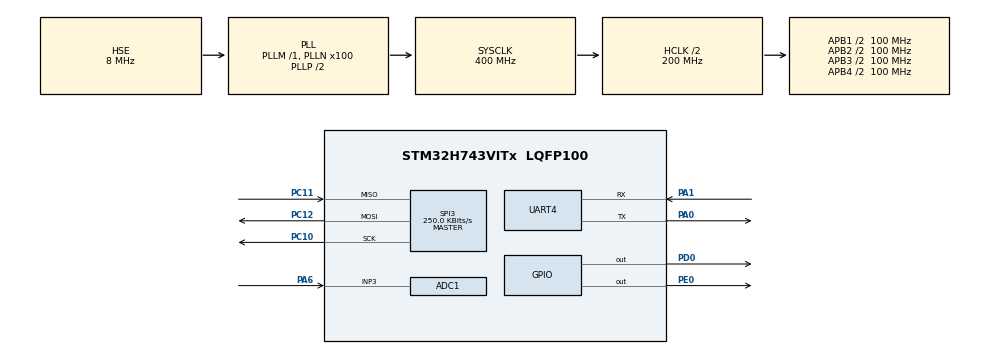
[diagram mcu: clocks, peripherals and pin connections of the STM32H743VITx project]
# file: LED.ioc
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ADC1.Channel-0\#ChannelRegularConversion=ADC_CHANNEL_3
ADC1.ClockPrescaler=ADC_CLOCK_ASYNC_DIV6
ADC1.ConversionDataManagement=ADC_CONVERSIONDATA_DMA_CIRCULAR
ADC1.ExternalTrigConv=ADC_EXTERNALTRIG_T3_TRGO
ADC1.NbrOfConversion=1
ADC1.NbrOfConversionFlag=1
ADC1.OffsetNumber-0\#ChannelRegularConversion=ADC_OFFSET_NONE
ADC1.OversamplingMode=ENABLE
ADC1.Rank-0\#ChannelRegularConversion=1
ADC1.Ratio=1023
ADC1.RightBitShift=ADC_RIGHTBITSHIFT_10
ADC1.SamplingTime-0\#ChannelRegularConversion=ADC_SAMPLETIME_1CYCLE_5
ADC1.master=1
Bdma.BDMA_GENERATOR0.0.Direction=DMA_MEMORY_TO_PERIPH
Bdma.BDMA_GENERATOR0.0.EventEnable=DISABLE
Bdma.BDMA_GENERATOR0.0.Instance=BDMA_Channel0
Bdma.BDMA_GENERATOR0.0.MemDataAlignment=DMA_MDATAALIGN_HALFWORD
Bdma.BDMA_GENERATOR0.0.MemInc=DMA_MINC_ENABLE
Bdma.BDMA_GENERATOR0.0.Mode=DMA_CIRCULAR
Bdma.BDMA_GENERATOR0.0.PeriphDataAlignment=DMA_PDATAALIGN_HALFWORD
Bdma.BDMA_GENERATOR0.0.PeriphInc=DMA_PINC_DISABLE
Bdma.BDMA_GENERATOR0.0.Polarity=HAL_DMAMUX_REQ_GEN_RISING
Bdma.BDMA_GENERATOR0.0.Priority=DMA_PRIORITY_LOW
Bdma.BDMA_GENERATOR0.0.RequestNumber=1
Bdma.BDMA_GENERATOR0.0.SignalID=HAL_DMAMUX2_REQ_GEN_LPTIM2_OUT
Bdma.BDMA_GENERATOR0.0.SyncEnable=DISABLE
Bdma.BDMA_GENERATOR0.0.SyncPolarity=HAL_DMAMUX_SYNC_NO_EVENT
Bdma.BDMA_GENERATOR0.0.SyncRequestNumber=1
Bdma.BDMA_GENERATOR0.0.SyncSignalID=NONE
Bdma.Request0=BDMA_GENERATOR0
Bdma.RequestsNb=1
CORTEX_M7.CPU_DCache=Disabled
CORTEX_M7.CPU_ICache=Disabled
Dma.ADC1.0.Direction=DMA_PERIPH_TO_MEMORY
Dma.ADC1.0.EventEnable=DISABLE
Dma.ADC1.0.FIFOMode=DMA_FIFOMODE_DISABLE
Dma.ADC1.0.Instance=DMA1_Stream0
Dma.ADC1.0.MemDataAlignment=DMA_MDATAALIGN_HALFWORD
Dma.ADC1.0.MemInc=DMA_MINC_ENABLE
Dma.ADC1.0.Mode=DMA_CIRCULAR
Dma.ADC1.0.PeriphDataAlignment=DMA_PDATAALIGN_HALFWORD
Dma.ADC1.0.PeriphInc=DMA_PINC_DISABLE
Dma.ADC1.0.Polarity=HAL_DMAMUX_REQ_GEN_RISING
Dma.ADC1.0.Priority=DMA_PRIORITY_LOW
Dma.ADC1.0.RequestNumber=1
Dma.ADC1.0.SignalID=NONE
Dma.ADC1.0.SyncEnable=DISABLE
Dma.ADC1.0.SyncPolarity=HAL_DMAMUX_SYNC_NO_EVENT
Dma.ADC1.0.SyncRequestNumber=1
Dma.ADC1.0.SyncSignalID=NONE
Dma.Request0=ADC1
Dma.Request1=UART4_RX
Dma.UART4_RX.1.Direction=DMA_PERIPH_TO_MEMORY
Dma.UART4_RX.1.EventEnable=DISABLE
Dma.UART4_RX.1.FIFOMode=DMA_FIFOMODE_DISABLE
Dma.UART4_RX.1.Instance=DMA1_Stream2
Dma.UART4_RX.1.MemDataAlignment=DMA_MDATAALIGN_BYTE
Dma.UART4_RX.1.MemInc=DMA_MINC_ENABLE
Dma.UART4_RX.1.Mode=DMA_NORMAL
Dma.UART4_RX.1.PeriphDataAlignment=DMA_PDATAALIGN_BYTE
Dma.UART4_RX.1.PeriphInc=DMA_PINC_DISABLE
Dma.UART4_RX.1.Polarity=HAL_DMAMUX_REQ_GEN_RISING
Dma.UART4_RX.1.Priority=DMA_PRIORITY_LOW
Dma.UART4_RX.1.RequestNumber=1
Dma.UART4_RX.1.SignalID=NONE
Dma.UART4_RX.1.SyncEnable=DISABLE
Dma.UART4_RX.1.SyncPolarity=HAL_DMAMUX_SYNC_NO_EVENT
Dma.UART4_RX.1.SyncRequestNumber=1
Dma.UART4_RX.1.SyncSignalID=NONE
Mcu.Family=STM32H7
Mcu.Name=STM32H743VITx
Mcu.Package=LQFP100
NVIC.BDMA_Channel0_IRQn=true\:0\:0\:false\:false\:true\:true\:true
NVIC.DMA1_Stream0_IRQn=true\:1\:0\:true\:false\:true\:false\:true
NVIC.DMA1_Stream2_IRQn=true\:0\:0\:false\:false\:true\:false\:true
NVIC.DMAMUX2_OVR_IRQn=true\:0\:0\:false\:false\:true\:false\:true
NVIC.PriorityGroup=NVIC_PRIORITYGROUP_4
NVIC.TIM3_IRQn=true\:0\:0\:false\:false\:true\:true\:true
NVIC.UART4_IRQn=true\:0\:0\:false\:false\:true\:true\:true
PA0.Mode=Asynchronous
PA0.Signal=UART4_TX
PA1.Mode=Asynchronous
PA1.Signal=UART4_RX
PA6.Signal=ADCx_INP3
PC10.Mode=Full_Duplex_Master
PC10.Signal=SPI3_SCK
PC11.Mode=Full_Duplex_Master
PC11.Signal=SPI3_MISO
PC12.Mode=Full_Duplex_Master
PC12.Signal=SPI3_MOSI
PD0.Signal=GPIO_Output
PE0.Signal=GPIO_Output
PH0-OSC_IN\ (PH0).Mode=HSE-External-Oscillator
PH0-OSC_IN\ (PH0).Signal=RCC_OSC_IN
PH1-OSC_OUT\ (PH1).Mode=HSE-External-Oscillator
PH1-OSC_OUT\ (PH1).Signal=RCC_OSC_OUT
ProjectManager.HeapSize=0x200
ProjectManager.StackSize=0x400
ProjectManager.TargetToolchain=MDK-ARM V5
RCC.ADCFreq_Value=76000000
RCC.APB1Freq_Value=100000000
RCC.APB2Freq_Value=100000000
RCC.APB3Freq_Value=100000000
RCC.APB4Freq_Value=100000000
RCC.CortexFreq_Value=400000000
RCC.D1PPRE=RCC_APB3_DIV2
RCC.D2PPRE1=RCC_APB1_DIV2
RCC.D2PPRE2=RCC_APB2_DIV2
RCC.D3PPRE=RCC_APB4_DIV2
RCC.DIVM1=1
RCC.DIVM2=1
RCC.DIVN1=100
RCC.DIVN2=19
RCC.HCLKFreq_Value=200000000
RCC.HPRE=RCC_HCLK_DIV2
RCC.HSE_VALUE=8000000
RCC.PLLSourceVirtual=RCC_PLLSOURCE_HSE
RCC.PWR_Regulator_Voltage_Scale=PWR_REGULATOR_VOLTAGE_SCALE1
RCC.SPI123CLockSelection=RCC_SPI123CLKSOURCE_CLKP
RCC.SYSCLKFreq_VALUE=400000000
RCC.SYSCLKSource=RCC_SYSCLKSOURCE_PLLCLK
RCC.USBFreq_Value=400000000
SH.ADCx_INP3.0=ADC1_INP3,IN3-Single-Ended
SPI3.BaudRatePrescaler=SPI_BAUDRATEPRESCALER_256
SPI3.CLKPhase=SPI_PHASE_2EDGE
SPI3.CalculateBaudRate=250.0 KBits/s
SPI3.DataSize=SPI_DATASIZE_32BIT
SPI3.Direction=SPI_DIRECTION_2LINES
SPI3.Mode=SPI_MODE_MASTER
SPI3.VirtualType=VM_MASTER
TIM3.Period=1000-1
TIM3.Prescaler=100-1
TIM3.TIM_MasterOutputTrigger=TIM_TRGO_UPDATE
TIM3.TIM_MasterSlaveMode=TIM_MASTERSLAVEMODE_DISABLE
VP_LPTIM2_VS_LPTIM_counterModeInternalClock.Mode=Counts__internal_clock_event_00
VP_TIM3_VS_ClockSourceINT.Mode=Internal
board=custom

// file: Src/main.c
/* USER CODE BEGIN Header */
/**
  ******************************************************************************
  * @file           : main.c
  * @brief          : Main program body
  ******************************************************************************
  ** This notice applies to any and all portions of this file
  * that are not between comment pairs USER CODE BEGIN and
  * USER CODE END. Other portions of this file, whether
  * inserted by the user or by software development tools
  * are owned by their respective copyright owners.
  *
  * COPYRIGHT(c) 2019 STMicroelectronics
  *
  * Redistribution and use in source and binary forms, with or without modification,
  * are permitted provided that the following conditions are met:
  *   1. Redistributions of source code must retain the above copyright notice,
  *      this list of conditions and the following disclaimer.
  *   2. Redistributions in binary form must reproduce the above copyright notice,
  *      this list of conditions and the following disclaimer in the documentation
  *      and/or other materials provided with the distribution.
  *   3. Neither the name of STMicroelectronics nor the names of its contributors
  *      may be used to endorse or promote products derived from this software
  *      without specific prior written permission.
  *
  * THIS SOFTWARE IS PROVIDED BY THE COPYRIGHT HOLDERS AND CONTRIBUTORS "AS IS"
  * AND ANY EXPRESS OR IMPLIED WARRANTIES, INCLUDING, BUT NOT LIMITED TO, THE
  * IMPLIED WARRANTIES OF MERCHANTABILITY AND FITNESS FOR A PARTICULAR PURPOSE ARE
  * DISCLAIMED. IN NO EVENT SHALL THE COPYRIGHT HOLDER OR CONTRIBUTORS BE LIABLE
  * FOR ANY DIRECT, INDIRECT, INCIDENTAL, SPECIAL, EXEMPLARY, OR CONSEQUENTIAL
  * DAMAGES (INCLUDING, BUT NOT LIMITED TO, PROCUREMENT OF SUBSTITUTE GOODS OR
  * SERVICES; LOSS OF USE, DATA, OR PROFITS; OR BUSINESS INTERRUPTION) HOWEVER
  * CAUSED AND ON ANY THEORY OF LIABILITY, WHETHER IN CONTRACT, STRICT LIABILITY,
  * OR TORT (INCLUDING NEGLIGENCE OR OTHERWISE) ARISING IN ANY WAY OUT OF THE USE
  * OF THIS SOFTWARE, EVEN IF ADVISED OF THE POSSIBILITY OF SUCH DAMAGE.
  *
  ******************************************************************************
  */
/* USER CODE END Header */

#include "main.h"
#include "adc.h"
#include "bdma.h"
#include "dma.h"
#include "lptim.h"
#include "spi.h"
#include "tim.h"
#include "usart.h"
#include "gpio.h"

/* USER CODE BEGIN Includes */
#include "arm_math.h"
#include "bdma.h"
//#include "lptim.h"
#include "DDS.h"
#include "arm_fir_example_f32.h"
#include "arm_iir_example_f32.h"
#include "ADPCM.h"
#include "uart_lcd.h"
/* USER CODE END Includes */

void SystemClock_Config(void);
/* USER CODE BEGIN PFP */
short WorkingBuf[1024];
signed char Qerror[1024];
short Output[1024];
u16 len = 0;
/* USER CODE END PFP */

/* USER CODE BEGIN 0 */
void SysTick_interrupt()			//1ms
{
//	static u32 i;
//	if(i==1000)
//	{
//		HAL_GPIO_TogglePin(GPIOE,GPIO_PIN_0);
// 		i=0;
//	}
//	i++;
}

/* USER CODE END 0 */

int main(void)
{
    /* USER CODE BEGIN 1 */
    /* Enable I-Cache---------------------------------------------------------*/
//  SCB_EnableICache();

//  /* Enable D-Cache---------------------------------------------------------*/
//  SCB_EnableDCache();
    /* USER CODE END 1 */

    /* MCU Configuration--------------------------------------------------------*/

    /* Reset of all peripherals, Initializes the Flash interface and the Systick. */
    HAL_Init();

    /* Configure the system clock */
    SystemClock_Config();

    /* Initialize all configured peripherals */
    MX_GPIO_Init();
    MX_BDMA_Init();
    MX_DMA_Init();
    MX_ADC1_Init();
    MX_TIM3_Init();
    MX_UART4_Init();
    MX_LPTIM2_Init();
    MX_SPI3_Init();
    /* USER CODE BEGIN 2 */
//    ADC_Tim3_START();		//fs = 2k
    InitSinTable();
    DDS_init();
//    uart_lcd_init();
    UART_DMA_init();
    u8 state = 1;
    /* USER CODE END 2 */

    /* Infinite loop */
    while(1)
    {

        switch(state)
        {
        case 1:
            if(but1)
            {
//		GpuSend("SPG(3);\r\n");
                but1 = 0;
//                printf("SPG(3);\r\n");
//                state = 2;

            }
			if(but2)
			{
				 printf("DS64(127,128,'Waiting',0,0);\r\n");
				but2 = 0;
			}
            break;
        case 2:
            if(but1)
            {
//		GpuSend("SPG(3);\r\n");
                but1 = 0;
                printf("SPG(1);\r\n");
                state = 1;

            }
            break;
        case 3:
            break;
        }
        /* USER CODE BEGIN 3 */
        HAL_Delay(1);

    }

    /* USER CODE END 3 */
}

void SystemClock_Config(void)
{
    RCC_OscInitTypeDef RCC_OscInitStruct = {0};
    RCC_ClkInitTypeDef RCC_ClkInitStruct = {0};
    RCC_PeriphCLKInitTypeDef PeriphClkInitStruct = {0};

    /** Supply configuration update enable
    */
    HAL_PWREx_ConfigSupply(PWR_LDO_SUPPLY);
    /** Configure the main internal regulator output voltage
    */
    __HAL_PWR_VOLTAGESCALING_CONFIG(PWR_REGULATOR_VOLTAGE_SCALE1);

    while(!__HAL_PWR_GET_FLAG(PWR_FLAG_VOSRDY)) {}
    /** Macro to configure the PLL clock source
    */
    __HAL_RCC_PLL_PLLSOURCE_CONFIG(RCC_PLLSOURCE_HSE);
    /** Initializes the CPU, AHB and APB busses clocks
    */
    RCC_OscInitStruct.OscillatorType = RCC_OSCILLATORTYPE_HSI | RCC_OSCILLATORTYPE_HSE;
    RCC_OscInitStruct.HSEState = RCC_HSE_ON;
    RCC_OscInitStruct.HSIState = RCC_HSI_DIV1;
    RCC_OscInitStruct.HSICalibrationValue = RCC_HSICALIBRATION_DEFAULT;
    RCC_OscInitStruct.PLL.PLLState = RCC_PLL_ON;
    RCC_OscInitStruct.PLL.PLLSource = RCC_PLLSOURCE_HSE;
    RCC_OscInitStruct.PLL.PLLM = 1;
    RCC_OscInitStruct.PLL.PLLN = 100;
    RCC_OscInitStruct.PLL.PLLP = 2;
    RCC_OscInitStruct.PLL.PLLQ = 2;
    RCC_OscInitStruct.PLL.PLLR = 2;
    RCC_OscInitStruct.PLL.PLLRGE = RCC_PLL1VCIRANGE_3;
    RCC_OscInitStruct.PLL.PLLVCOSEL = RCC_PLL1VCOWIDE;
    RCC_OscInitStruct.PLL.PLLFRACN = 0;
    if(HAL_RCC_OscConfig(&RCC_OscInitStruct) != HAL_OK)
    {
        Error_Handler();
    }
    /** Initializes the CPU, AHB and APB busses clocks
    */
    RCC_ClkInitStruct.ClockType = RCC_CLOCKTYPE_HCLK | RCC_CLOCKTYPE_SYSCLK
                                  | RCC_CLOCKTYPE_PCLK1 | RCC_CLOCKTYPE_PCLK2
                                  | RCC_CLOCKTYPE_D3PCLK1 | RCC_CLOCKTYPE_D1PCLK1;
    RCC_ClkInitStruct.SYSCLKSource = RCC_SYSCLKSOURCE_PLLCLK;
    RCC_ClkInitStruct.SYSCLKDivider = RCC_SYSCLK_DIV1;
    RCC_ClkInitStruct.AHBCLKDivider = RCC_HCLK_DIV2;
    RCC_ClkInitStruct.APB3CLKDivider = RCC_APB3_DIV2;
    RCC_ClkInitStruct.APB1CLKDivider = RCC_APB1_DIV2;
    RCC_ClkInitStruct.APB2CLKDivider = RCC_APB2_DIV2;
    RCC_ClkInitStruct.APB4CLKDivider = RCC_APB4_DIV2;

    if(HAL_RCC_ClockConfig(&RCC_ClkInitStruct, FLASH_LATENCY_2) != HAL_OK)
    {
        Error_Handler();
    }
    PeriphClkInitStruct.PeriphClockSelection = RCC_PERIPHCLK_UART4 | RCC_PERIPHCLK_SPI3
            | RCC_PERIPHCLK_LPTIM2 | RCC_PERIPHCLK_ADC
            | RCC_PERIPHCLK_CKPER;
    PeriphClkInitStruct.PLL2.PLL2M = 1;
    PeriphClkInitStruct.PLL2.PLL2N = 19;
    PeriphClkInitStruct.PLL2.PLL2P = 2;
    PeriphClkInitStruct.PLL2.PLL2Q = 2;
    PeriphClkInitStruct.PLL2.PLL2R = 2;
    PeriphClkInitStruct.PLL2.PLL2RGE = RCC_PLL2VCIRANGE_3;
    PeriphClkInitStruct.PLL2.PLL2VCOSEL = RCC_PLL2VCOMEDIUM;
    PeriphClkInitStruct.PLL2.PLL2FRACN = 0;
    PeriphClkInitStruct.CkperClockSelection = RCC_CLKPSOURCE_HSI;
    PeriphClkInitStruct.Spi123ClockSelection = RCC_SPI123CLKSOURCE_CLKP;
    PeriphClkInitStruct.Usart234578ClockSelection = RCC_USART234578CLKSOURCE_D2PCLK1;
    PeriphClkInitStruct.Lptim2ClockSelection = RCC_LPTIM2CLKSOURCE_D3PCLK1;
    PeriphClkInitStruct.AdcClockSelection = RCC_ADCCLKSOURCE_PLL2;
    if(HAL_RCCEx_PeriphCLKConfig(&PeriphClkInitStruct) != HAL_OK)
    {
        Error_Handler();
    }
}

void Error_Handler(void)
{
}

/************************ (C) COPYRIGHT STMicroelectronics *****END OF FILE****/
